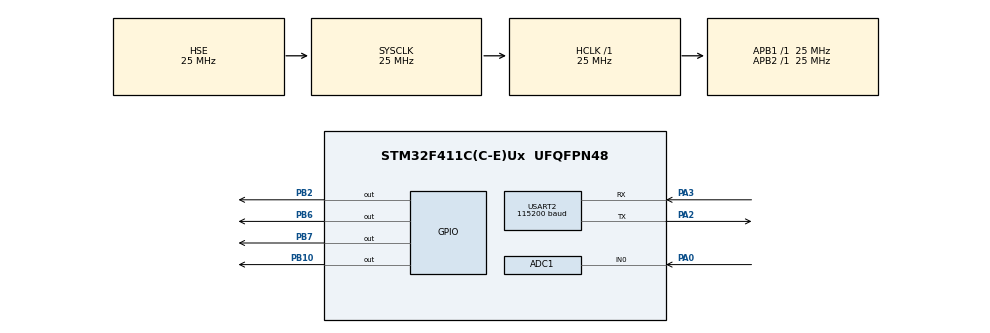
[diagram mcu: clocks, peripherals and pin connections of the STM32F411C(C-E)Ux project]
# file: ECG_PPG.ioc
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ADC1.Channel-0\#ChannelRegularConversion=ADC_CHANNEL_0
ADC1.ClockPrescaler=ADC_CLOCK_SYNC_PCLK_DIV4
ADC1.DMAContinuousRequests=ENABLE
ADC1.ExternalTrigConv=ADC_EXTERNALTRIGCONV_T2_TRGO
ADC1.ExternalTrigConvEdge=ADC_EXTERNALTRIGCONVEDGE_RISING
ADC1.NbrOfConversionFlag=1
ADC1.Rank-0\#ChannelRegularConversion=1
ADC1.SamplingTime-0\#ChannelRegularConversion=ADC_SAMPLETIME_84CYCLES
ADC1.master=1
Dma.ADC1.0.Direction=DMA_PERIPH_TO_MEMORY
Dma.ADC1.0.FIFOMode=DMA_FIFOMODE_DISABLE
Dma.ADC1.0.Instance=DMA2_Stream0
Dma.ADC1.0.MemDataAlignment=DMA_MDATAALIGN_HALFWORD
Dma.ADC1.0.MemInc=DMA_MINC_ENABLE
Dma.ADC1.0.Mode=DMA_CIRCULAR
Dma.ADC1.0.PeriphDataAlignment=DMA_PDATAALIGN_HALFWORD
Dma.ADC1.0.PeriphInc=DMA_PINC_DISABLE
Dma.ADC1.0.Priority=DMA_PRIORITY_HIGH
Dma.Request0=ADC1
Dma.Request1=USART2_TX
Dma.USART2_TX.1.Direction=DMA_MEMORY_TO_PERIPH
Dma.USART2_TX.1.FIFOMode=DMA_FIFOMODE_DISABLE
Dma.USART2_TX.1.Instance=DMA1_Stream6
Dma.USART2_TX.1.MemDataAlignment=DMA_MDATAALIGN_BYTE
Dma.USART2_TX.1.MemInc=DMA_MINC_ENABLE
Dma.USART2_TX.1.Mode=DMA_NORMAL
Dma.USART2_TX.1.PeriphDataAlignment=DMA_PDATAALIGN_BYTE
Dma.USART2_TX.1.PeriphInc=DMA_PINC_DISABLE
Dma.USART2_TX.1.Priority=DMA_PRIORITY_MEDIUM
Mcu.Family=STM32F4
Mcu.Name=STM32F411C(C-E)Ux
Mcu.Package=UFQFPN48
NVIC.DMA1_Stream6_IRQn=true\:1\:0\:false\:false\:true\:false\:true\:true
NVIC.DMA2_Stream0_IRQn=true\:0\:0\:false\:false\:true\:false\:true\:true
NVIC.PriorityGroup=NVIC_PRIORITYGROUP_4
NVIC.USART2_IRQn=true\:1\:0\:false\:false\:true\:true\:true\:true
PA0-WKUP.Signal=ADCx_IN0
PA13.Mode=Serial_Wire
PA13.Signal=SYS_JTMS-SWDIO
PA14.Mode=Serial_Wire
PA14.Signal=SYS_JTCK-SWCLK
PA2.Mode=Asynchronous
PA2.Signal=USART2_TX
PA3.Mode=Asynchronous
PA3.Signal=USART2_RX
PB10.GPIO_ModeDefaultOutputPP=GPIO_MODE_OUTPUT_OD
PB10.GPIO_PuPd=GPIO_PULLUP
PB10.GPIO_Speed=GPIO_SPEED_FREQ_HIGH
PB10.PinState=GPIO_PIN_SET
PB10.Signal=GPIO_Output
PB2.GPIO_ModeDefaultOutputPP=GPIO_MODE_OUTPUT_OD
PB2.GPIO_PuPd=GPIO_PULLUP
PB2.GPIO_Speed=GPIO_SPEED_FREQ_HIGH
PB2.PinState=GPIO_PIN_SET
PB2.Signal=GPIO_Output
PB6.GPIO_ModeDefaultOutputPP=GPIO_MODE_OUTPUT_OD
PB6.GPIO_PuPd=GPIO_PULLUP
PB6.GPIO_Speed=GPIO_SPEED_FREQ_HIGH
PB6.PinState=GPIO_PIN_SET
PB6.Signal=GPIO_Output
PB7.GPIO_ModeDefaultOutputPP=GPIO_MODE_OUTPUT_OD
PB7.GPIO_PuPd=GPIO_PULLUP
PB7.GPIO_Speed=GPIO_SPEED_FREQ_HIGH
PB7.PinState=GPIO_PIN_SET
PB7.Signal=GPIO_Output
PH0-OSC_IN.Mode=HSE-External-Oscillator
PH0-OSC_IN.Signal=RCC_OSC_IN
PH1-OSC_OUT.Mode=HSE-External-Oscillator
PH1-OSC_OUT.Signal=RCC_OSC_OUT
ProjectManager.HeapSize=0x200
ProjectManager.StackSize=0x400
ProjectManager.TargetToolchain=CMake
RCC.AHBFreq_Value=25000000
RCC.APB1Freq_Value=25000000
RCC.APB2Freq_Value=25000000
RCC.CortexFreq_Value=25000000
RCC.HSE_VALUE=25000000
RCC.HSI_VALUE=16000000
RCC.LSE_VALUE=32768
RCC.SYSCLKSource=RCC_SYSCLKSOURCE_HSE
RCC.SYSCLKFreq_VALUE=25000000
RCC.VCOOutputFreq_Value=192000000
SH.ADCx_IN0.0=ADC1_IN0,IN0
TIM2.ClockDivision=TIM_CLOCKDIVISION_DIV1
TIM2.Period=4999
TIM2.Prescaler=24
TIM2.TIM_MasterOutputTrigger=TIM_TRGO_UPDATE
TIM5.Period=4294967295
TIM5.Prescaler=24
USART2.BaudRate=115200
USART2.Mode=MODE_TX
USART2.VirtualMode=VM_ASYNC
VP_TIM2_VS_ClockSourceINT.Mode=Internal
VP_TIM5_VS_ClockSourceINT.Mode=Internal
board=custom

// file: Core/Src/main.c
/* USER CODE BEGIN Header */
/**
  ******************************************************************************
  * @file           : main.c
  * @brief          : ECG(AD8232) + PPG(MAX30102) 同步采集，串口上传上位机
  ******************************************************************************
  * @attention
  *
  * 项目：基于 ECG+PPG 的深度学习无袖带血压监测（大创）
  * MCU ：STM32F411CEU6，板载 25MHz HSE（UART 与采样时基必须准确）
  *
  * 采集链路：
  *   AD8232  -> PA0(ADC1_IN0) -> TIM2 TRGO 200Hz 触发 -> DMA2_Stream0 循环
  *   MAX30102-> PB6/PB7 软件 I2C -> 100Hz FIFO 轮询
  *   两条链路共用 TIM5(1MHz)；PPG 时间戳由 FIFO 读取时刻估计
  *
  * 上传链路：
  *   USART2 (PA2=TX, PA3=RX) @115200 8N1 -> ATK-BLE04 -> BLE 上位机
  *   也可由 PA2 接 USB-TTL RX；上传数据格式相同。
  *   12 字节二进制帧，见 ecg_ppg_stream.h
  *
  * 上位机：host_pc/launch_gui.py（配套），
  *         导出 CSV 供 UniCardio / ABPImputation / 特征提取使用。
  ******************************************************************************
  */
/* USER CODE END Header */
#include "main.h"
#include "adc.h"
#include "dma.h"
#include "tim.h"
#include "gpio.h"
#include "usart.h"
#include "MAX.h"
#include "AD8232.h"
#include "ecg_ppg_stream.h"

/* USER CODE BEGIN PD */

/* 主循环轮询 MAX30102 FIFO 的间隔。
 * MAX30102 在 100Hz 下每 10ms 产出一个样本，FIFO 深度 32。
 * 每轮最多读取 FIFO 的完整快照，避免分批时把旧样本误当作最新样本。 */
#define MAX30102_POLL_INTERVAL_MS   2U
#define MAX30102_MAX_SAMPLES        MAX30102_FIFO_DEPTH

/* 每 3 秒把统计信息（帧数/丢帧/FIFO 溢出）通过 USER 调试帧输出一次。
 * 由于 12 字节协议里没有专用调试帧类型，这里改为：
 *   - 若出现丢帧或溢出，点亮 LED（若已接）；
 *   - 统计信息保留在 STREAM_Stats 中，可用调试器查看。
 * 置 1 会通过 UART 发送 ASCII 调试行，会占用带宽，默认关闭。 */
#define ENABLE_ASCII_DEBUG          0

/* USER CODE END PD */

/* USER CODE BEGIN PV */

/* 说明：曾经在这里放了一个 static MAX30102_DataTypeDef max30102_data，
 * 但改成分帧上传后不再需要它（每帧直接由 STREAM_PushPPGAt 组帧），
 * 留着会触发 -Wunused-variable，故移除。 */

/* USER CODE END PV */

void SystemClock_Config(void);
/* USER CODE BEGIN PFP */

static void MAX30102_DrainFifo(void);

/* USER CODE END PFP */

/* USER CODE BEGIN 0 */

/**
 * @brief 一次性把 MAX30102 FIFO 里的样本全部取出并组帧入队。
 *
 * 为什么按「批」而不是按「点」取：
 *   软件 I2C 读 6 字节（一个 RED+IR 对）约需数百微秒。
 *   若每个样本都单独发起一次 I2C 事务，100Hz 下尚可接受，
 *   但一旦主循环有抖动就容易让 FIFO 累积直至溢出。
 *   批量读取 + FIFO 指针差计算，是一次事务周期内把积压样本清空，更稳。
 */
static void MAX30102_DrainFifo(void)
{
    MAX30102_RawSample samples[MAX30102_MAX_SAMPLES];
    uint8_t sample_count = 0U;
    uint8_t i;
    uint32_t newest_us;

    /* Anchor before the burst: the transfer time is not acquisition time. */
    newest_us = STREAM_TimestampUs();
    if (!MAX30102_ReadRawFIFO(samples, MAX30102_MAX_SAMPLES, &sample_count)) {
        return;
    }
    if (sample_count == 0U) {
        return;
    }

    /* 最后一个样本以读取前时刻近似，其余按标称 100Hz 逆推。
     * 仅批内是等间隔；批间仍包含轮询延迟及传感器时钟误差。
     * 不能将这些估计时间戳当作已经标定的精确 PAT 时间基准。
     * 注意：必须用带显式时间戳的 STREAM_PushPPGAt，否则同一批 N 个样本
     *       会被打成同一个时刻，时间轴塌缩。 */
    for (i = 0U; i < sample_count; ++i) {
        uint32_t age_us = (uint32_t)(sample_count - 1U - i) * 10000U;
        (void)STREAM_PushPPGAt(samples[i].red, samples[i].ir,
                               newest_us - age_us);
    }
}

/* USER CODE END 0 */

int main(void)
{

  /* MCU Configuration--------------------------------------------------------*/

  /* Reset of all peripherals, Initializes the Flash interface and the Systick. */
  HAL_Init();

  /* Configure the system clock */
  SystemClock_Config();

  /* Initialize all configured peripherals */
  MX_GPIO_Init();
  MX_DMA_Init();
  MX_ADC1_Init();
  MX_TIM2_Init();
  MX_TIM5_Init();
  MX_USART2_UART_Init();
  /* USER CODE BEGIN 2 */

  /* 启动 1MHz 时间戳基准（必须在任何采集开始之前） */
   if (HAL_TIM_Base_Start(&htim5) != HAL_OK) Error_Handler();

  /* 初始化串口发送层（探测 DMA 可用性） */
  STREAM_Start();

   /* Configure the sensor stopped; no sample predates the TIM5 time base. */
   if (MAX30102_Init() == 0U) Error_Handler();
   if (MAX30102_StartSampling() == 0U) Error_Handler();

  /* 启动 ADC1 + DMA，开始 ECG 采集 */
  if (AD8232_Start() != HAL_OK)
    Error_Handler();

   /* Arm ADC/DMA before enabling its 200 Hz trigger. */
   if (HAL_TIM_Base_Start(&htim2) != HAL_OK) Error_Handler();

  /* USER CODE END 2 */

  /* Infinite loop */
  /* USER CODE BEGIN WHILE */
  while (1)
  {
    /* ECG 由 TIM2 TRGO + ADC DMA 中断自动完成组帧，主循环无需干预。 */

    /* PPG：每 2ms 轮询一次 FIFO，把积压样本批量取回并入队。 */
    MAX30102_DrainFifo();

    /* 串口发送：把队列中的帧通过 USART2+DMA 搬出去（非阻塞） */
    STREAM_ProcessTx();

    /* 2ms 节拍，给 SysTick / 中断留出执行时间 */
    HAL_Delay(MAX30102_POLL_INTERVAL_MS);

    /* USER CODE END WHILE */

  }
}

void SystemClock_Config(void)
{
  RCC_OscInitTypeDef RCC_OscInitStruct = {0};
  RCC_ClkInitTypeDef RCC_ClkInitStruct = {0};

  /** Configure the main internal regulator output voltage
  */
  __HAL_RCC_PWR_CLK_ENABLE();
  __HAL_PWR_VOLTAGESCALING_CONFIG(PWR_REGULATOR_VOLTAGE_SCALE1);

  /** Initializes the RCC Oscillators according to the specified parameters
  * in the RCC_OscInitTypeDef structure.
  */
  RCC_OscInitStruct.OscillatorType = RCC_OSCILLATORTYPE_HSI | RCC_OSCILLATORTYPE_HSE;
  RCC_OscInitStruct.HSEState = RCC_HSE_ON;
  RCC_OscInitStruct.HSIState = RCC_HSI_ON;
  RCC_OscInitStruct.HSICalibrationValue = RCC_HSICALIBRATION_DEFAULT;
  RCC_OscInitStruct.PLL.PLLState = RCC_PLL_NONE;
  if (HAL_RCC_OscConfig(&RCC_OscInitStruct) != HAL_OK)
  {
    /* Do not silently change the UART baud / acquisition time base to HSI.
     * This board's HSI was measured outside the UART timing tolerance. */
    Error_Handler();
  }

  /** Initializes the CPU, AHB and APB buses clocks
  */
  RCC_ClkInitStruct.ClockType = RCC_CLOCKTYPE_HCLK|RCC_CLOCKTYPE_SYSCLK
                              |RCC_CLOCKTYPE_PCLK1|RCC_CLOCKTYPE_PCLK2;
  RCC_ClkInitStruct.SYSCLKSource = RCC_SYSCLKSOURCE_HSE;
  RCC_ClkInitStruct.AHBCLKDivider = RCC_SYSCLK_DIV1;
  RCC_ClkInitStruct.APB1CLKDivider = RCC_HCLK_DIV1;
  RCC_ClkInitStruct.APB2CLKDivider = RCC_HCLK_DIV1;

  if (HAL_RCC_ClockConfig(&RCC_ClkInitStruct, FLASH_LATENCY_0) != HAL_OK)
  {
    Error_Handler();
  }
}

void Error_Handler(void)
{
  __disable_irq();
  while (1)
  {
  }
}
